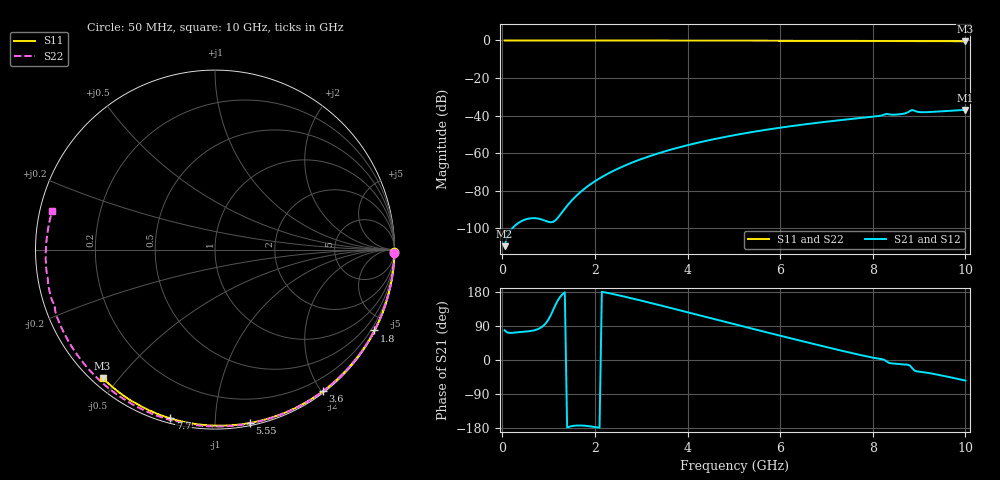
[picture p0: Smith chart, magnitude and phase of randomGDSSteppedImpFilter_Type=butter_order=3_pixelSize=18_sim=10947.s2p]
! freq	dB(S11)	phase(S11)	dB(S12)	phase(S12)
!  dB(S21)	phase(S21)	dB(S22)	phase(S22)
!S-par simulation data
#  GHz  S  DB  R 50
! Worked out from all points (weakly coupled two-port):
!   200 points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, 50 MHz to 10 GHz, reference 50 ohm
!   highest |S21| = -36.95 dB at 10 GHz (marker M1); lowest = -109.5 dB at 50 MHz (marker M2)
!   lowest |S11| = -0.4 dB at 10 GHz (marker M3), VSWR 39.45, Z = 1.53 - j22.7 ohm
!   |S11| at or under -10 dB: nowhere
!   |S22| runs from -0.6 to 0.0 dB; largest |S21 - S12| = 0
!   S11 on the Smith chart (normalised r, x): 50 MHz: open; 1.8 GHz: 0.04, -4.18; 3.6 GHz: 0.02, -2.02; 5.55 GHz: 0.02, -1.22; 7.7 GHz: 0.02, -0.77; 10 GHz: 0.03, -0.45
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0.05  -0.00 -0.8  -109.51 78.6  -109.51 78.6  -0.00 -1.1
0.85  -0.02 -12.8  -95.29 86.7  -95.29 86.7  -0.02 -18.8
1.7  -0.03 -25.4  -80.44 -172.9  -80.44 -172.9  -0.05 -37.1
1.75  -0.03 -26.2  -79.42 -173.2  -79.42 -173.2  -0.05 -38.2
1.8  -0.03 -26.9  -78.44 -173.7  -78.44 -173.7  -0.05 -39.2
2.1  -0.04 -31.3  -73.42 -178.9  -73.42 -178.9  -0.06 -45.5
2.5  -0.05 -37.1  -68.22 171.1  -68.22 171.1  -0.07 -53.9
2.9  -0.06 -42.8  -64.07 159.7  -64.07 159.7  -0.08 -62.0
3.4  -0.07 -49.8  -59.85 144.6  -59.85 144.6  -0.09 -72.0
3.6  -0.07 -52.6  -58.39 138.5  -58.39 138.5  -0.10 -75.9
4.3  -0.09 -62.2  -54.00 116.7  -54.00 116.7  -0.13 -89.3
5.05  -0.11 -72.1  -50.24 93.3  -50.24 93.3  -0.16 -103.2
5.55  -0.13 -78.6  -48.12 77.9  -48.12 77.9  -0.18 -112.3
6.7  -0.18 -92.9  -44.13 43.0  -44.13 43.0  -0.26 -132.7
7.7  -0.24 -104.9  -41.39 14.0  -41.39 14.0  -0.34 -150.4
8.3  -0.28 -111.9  -39.10 -4.0  -39.10 -4.0  -0.50 -161.0
8.35  -0.29 -112.5  -39.33 -7.7  -39.33 -7.7  -0.47 -161.6
8.65  -0.32 -115.9  -39.06 -11.7  -39.06 -11.7  -0.45 -167.4
8.85  -0.33 -118.1  -37.03 -21.4  -37.03 -21.4  -0.49 -170.9
8.95  -0.33 -119.3  -37.89 -30.0  -37.89 -30.0  -0.48 -172.8
9.1  -0.35 -121.1  -38.20 -32.2  -38.20 -32.2  -0.49 -175.7
10  -0.44 -131.2  -36.95 -54.2  -36.95 -54.2  -0.61 166.5
